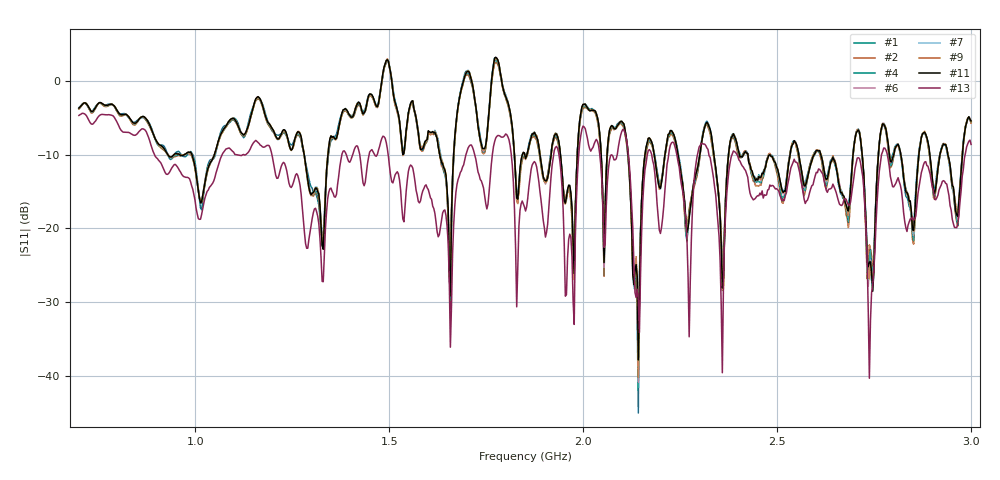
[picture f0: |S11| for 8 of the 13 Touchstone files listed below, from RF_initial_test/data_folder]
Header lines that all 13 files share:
# HZ S RI R 50
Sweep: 700 MHz to 3 GHz
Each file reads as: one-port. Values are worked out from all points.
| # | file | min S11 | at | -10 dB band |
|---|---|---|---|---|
| 1 | sokil10-7_1.s1p | -45.1 dB | 2.142 GHz | 82.59 MHz wide |
| 2 | sokil10-7_2.s1p | -37.6 dB | 2.142 GHz | 85.78 MHz wide |
| 3 | sokil10-7_3.s1p | -44.3 dB | 2.142 GHz | 84.65 MHz wide |
| 4 | sokil10-7_4.s1p | -41.6 dB | 2.142 GHz | 83.85 MHz wide |
| 5 | sokil10-7_5.s1p | -40.6 dB | 2.142 GHz | 84.43 MHz wide |
| 6 | sokil10-7_6.s1p | -40.9 dB | 2.142 GHz | 83.04 MHz wide |
| 7 | sokil10-7_7.s1p | -38.9 dB | 2.142 GHz | 82.45 MHz wide |
| 8 | sokil10-7_8.s1p | -40.3 dB | 2.142 GHz | 108.8 MHz wide |
| 9 | sokil10-7_9.s1p | -40.2 dB | 2.142 GHz | 82.57 MHz wide |
| 10 | sokil10-7_10.s1p | -38.4 dB | 2.142 GHz | 108.9 MHz wide |
| 11 | sokil10-7_11.s1p | -37.9 dB | 2.142 GHz | 108.7 MHz wide |
| 12 | sokil10-7_12.s1p | -39.1 dB | 2.735 GHz | 457.2 MHz wide |
| 13 | sokil10-7_13.s1p | -40.3 dB | 2.738 GHz | 372.6 MHz wide |
